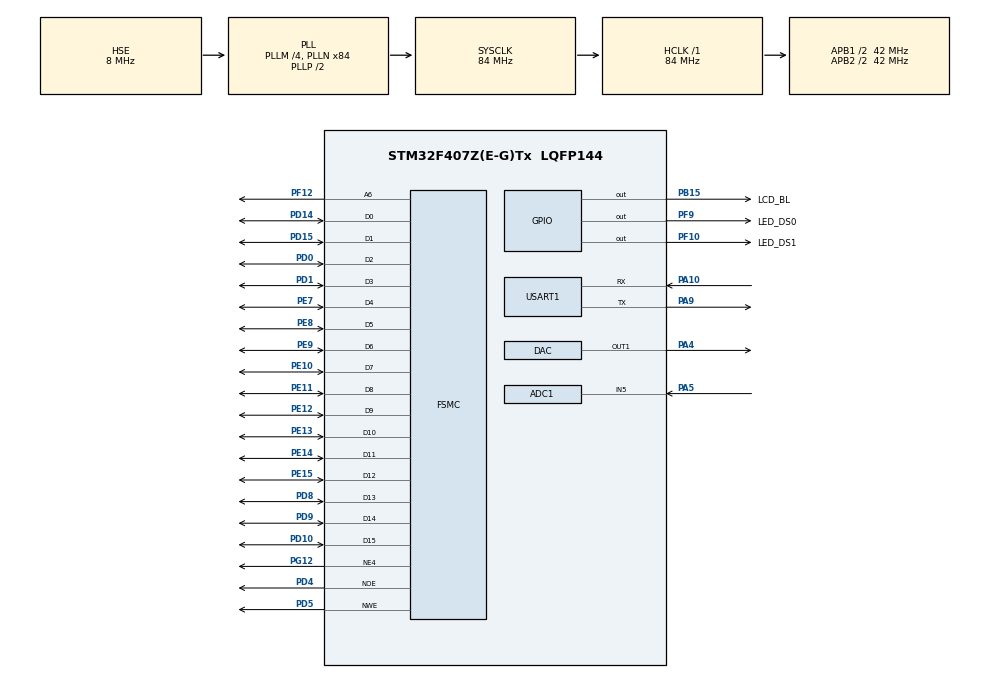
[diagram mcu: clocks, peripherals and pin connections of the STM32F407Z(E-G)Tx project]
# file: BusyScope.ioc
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ADC1.Channel-0\#ChannelRegularConversion=ADC_CHANNEL_5
ADC1.ExternalTrigConv=ADC_EXTERNALTRIGCONV_T2_TRGO
ADC1.NbrOfConversion=1
ADC1.NbrOfConversionFlag=1
ADC1.Rank-0\#ChannelRegularConversion=1
ADC1.SamplingTime-0\#ChannelRegularConversion=ADC_SAMPLETIME_56CYCLES
ADC1.master=1
FREERTOS.Tasks01=defaultTask,24,512,StartDefaultTask,Default,NULL,Dynamic,NULL,NULL
FSMC.ExtendedMode4=FSMC_EXTENDED_MODE_ENABLE
Mcu.Family=STM32F4
Mcu.Name=STM32F407Z(E-G)Tx
Mcu.Package=LQFP144
NVIC.ADC_IRQn=true\:5\:0\:false\:false\:true\:true\:true\:true\:true
NVIC.PriorityGroup=NVIC_PRIORITYGROUP_4
NVIC.TIM1_BRK_TIM9_IRQn=true\:5\:0\:false\:false\:true\:true\:true\:true\:true
NVIC.TIM1_CC_IRQn=true\:5\:0\:false\:false\:true\:true\:true\:true\:true
NVIC.TIM1_TRG_COM_TIM11_IRQn=true\:5\:0\:false\:false\:true\:true\:true\:true\:true
NVIC.TIM1_UP_TIM10_IRQn=true\:5\:0\:false\:false\:true\:true\:true\:true\:true
NVIC.TIM6_DAC_IRQn=true\:5\:0\:false\:false\:true\:true\:false\:true\:true
NVIC.TimeBase=TIM6_DAC_IRQn
NVIC.TimeBaseIP=TIM6
PA10.Mode=Asynchronous
PA10.Signal=USART1_RX
PA13.Mode=Serial_Wire
PA13.Signal=SYS_JTMS-SWDIO
PA14.Mode=Serial_Wire
PA14.Signal=SYS_JTCK-SWCLK
PA4.Signal=COMP_DAC1_group
PA5.Signal=ADCx_IN5
PA9.Mode=Asynchronous
PA9.Signal=USART1_TX
PB15.GPIO_Label=LCD_BL
PB15.PinState=GPIO_PIN_SET
PB15.Signal=GPIO_Output
PD0.Signal=FSMC_D2_DA2
PD1.Signal=FSMC_D3_DA3
PD10.Signal=FSMC_D15_DA15
PD14.Signal=FSMC_D0_DA0
PD15.Signal=FSMC_D1_DA1
PD4.Signal=FSMC_NOE
PD5.Signal=FSMC_NWE
PD8.Signal=FSMC_D13_DA13
PD9.Signal=FSMC_D14_DA14
PE10.Signal=FSMC_D7_DA7
PE11.Signal=FSMC_D8_DA8
PE12.Signal=FSMC_D9_DA9
PE13.Signal=FSMC_D10_DA10
PE14.Signal=FSMC_D11_DA11
PE15.Signal=FSMC_D12_DA12
PE7.Signal=FSMC_D4_DA4
PE8.Signal=FSMC_D5_DA5
PE9.Signal=FSMC_D6_DA6
PF10.GPIO_Label=LED_DS1
PF10.PinState=GPIO_PIN_SET
PF10.Signal=GPIO_Output
PF12.Signal=FSMC_A6
PF9.GPIO_Label=LED_DS0
PF9.GPIO_ModeDefaultOutputPP=GPIO_MODE_OUTPUT_PP
PF9.GPIO_PuPd=GPIO_NOPULL
PF9.PinState=GPIO_PIN_SET
PF9.Signal=GPIO_Output
PG12.Mode=NorPsramChipSelect4_4
PG12.Signal=FSMC_NE4
PH0-OSC_IN.Mode=HSE-External-Oscillator
PH0-OSC_IN.Signal=RCC_OSC_IN
PH1-OSC_OUT.Mode=HSE-External-Oscillator
PH1-OSC_OUT.Signal=RCC_OSC_OUT
ProjectManager.HeapSize=0x200
ProjectManager.StackSize=0x400
ProjectManager.TargetToolchain=STM32CubeIDE
RCC.48MHZClocksFreq_Value=42000000
RCC.AHBFreq_Value=84000000
RCC.APB1CLKDivider=RCC_HCLK_DIV2
RCC.APB1Freq_Value=42000000
RCC.APB1TimFreq_Value=84000000
RCC.APB2CLKDivider=RCC_HCLK_DIV2
RCC.APB2Freq_Value=42000000
RCC.APB2TimFreq_Value=84000000
RCC.CortexFreq_Value=84000000
RCC.HCLKFreq_Value=84000000
RCC.HSE_VALUE=8000000
RCC.HSI_VALUE=16000000
RCC.LSE_VALUE=32768
RCC.PLLM=4
RCC.PLLN=84
RCC.PLLSourceVirtual=RCC_PLLSOURCE_HSE
RCC.SYSCLKFreq_VALUE=84000000
RCC.SYSCLKSource=RCC_SYSCLKSOURCE_PLLCLK
RCC.VCOOutputFreq_Value=168000000
SH.ADCx_IN5.0=ADC1_IN5,IN5
SH.COMP_DAC1_group.0=DAC_OUT1,DAC_OUT1
SH.FSMC_A6.0=FSMC_A6,A6_4
SH.FSMC_D0_DA0.0=FSMC_D0,16b-d4
SH.FSMC_D10_DA10.0=FSMC_D10,16b-d4
SH.FSMC_D11_DA11.0=FSMC_D11,16b-d4
SH.FSMC_D12_DA12.0=FSMC_D12,16b-d4
SH.FSMC_D13_DA13.0=FSMC_D13,16b-d4
SH.FSMC_D14_DA14.0=FSMC_D14,16b-d4
SH.FSMC_D15_DA15.0=FSMC_D15,16b-d4
SH.FSMC_D1_DA1.0=FSMC_D1,16b-d4
SH.FSMC_D2_DA2.0=FSMC_D2,16b-d4
SH.FSMC_D3_DA3.0=FSMC_D3,16b-d4
SH.FSMC_D4_DA4.0=FSMC_D4,16b-d4
SH.FSMC_D5_DA5.0=FSMC_D5,16b-d4
SH.FSMC_D6_DA6.0=FSMC_D6,16b-d4
SH.FSMC_D7_DA7.0=FSMC_D7,16b-d4
SH.FSMC_D8_DA8.0=FSMC_D8,16b-d4
SH.FSMC_D9_DA9.0=FSMC_D9,16b-d4
SH.FSMC_NOE.0=FSMC_NOE,Lcd4
SH.FSMC_NWE.0=FSMC_NWE,Lcd4
STMicroelectronics.X-CUBE-ALGOBUILD.1.3.0.LibraryCcDSPOoLibraryJjDSPOoLibrary=true
TIM1.Period=1000 - 1
TIM1.Prescaler=84 - 1
TIM2.AutoReloadPreload=TIM_AUTORELOAD_PRELOAD_DISABLE
TIM2.Period=1000 - 1
TIM2.Prescaler=84 - 1
TIM2.TIM_MasterOutputTrigger=TIM_TRGO_UPDATE
TIM2.TIM_MasterSlaveMode=TIM_MASTERSLAVEMODE_DISABLE
USART1.VirtualMode=VM_ASYNC
VP_FREERTOS_VS_CMSIS_V2.Mode=CMSIS_V2
VP_STMicroelectronics.X-CUBE-ALGOBUILD_VS_DSPOoLibraryJjLibrary_1.3.0_1.3.0.Mode=DSPOoLibraryJjLibrary
VP_SYS_VS_tim6.Mode=TIM6
VP_TIM1_VS_ClockSourceINT.Mode=Internal
VP_TIM2_VS_ClockSourceINT.Mode=Internal
board=custom

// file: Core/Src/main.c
/* USER CODE BEGIN Header */
/**
  ******************************************************************************
  * @file           : main.c
  * @brief          : Main program body
  ******************************************************************************
  * @attention
  *
  * Copyright (c) 2024 STMicroelectronics.
  * All rights reserved.
  *
  * This software is licensed under terms that can be found in the LICENSE file
  * in the root directory of this software component.
  * If no LICENSE file comes with this software, it is provided AS-IS.
  *
  ******************************************************************************
  */
/* USER CODE END Header */
#include "main.h"
#include "cmsis_os.h"
#include "adc.h"
#include "dac.h"
#include "tim.h"
#include "usart.h"
#include "gpio.h"
#include "fsmc.h"

/* USER CODE BEGIN Includes */

#include "string.h"
#include "stdio.h"

#include "atk_md0350/atk_md0350.h"

/* USER CODE END Includes */

void SystemClock_Config(void);
void MX_FREERTOS_Init(void);

int main(void)
{

  /* MCU Configuration--------------------------------------------------------*/

  /* Reset of all peripherals, Initializes the Flash interface and the Systick. */
  HAL_Init();

  /* Configure the system clock */
  SystemClock_Config();

  /* Initialize all configured peripherals */
  MX_GPIO_Init();
  MX_FSMC_Init();
  MX_USART1_UART_Init();
  MX_DAC_Init();
  MX_ADC1_Init();
  MX_TIM1_Init();
  MX_TIM2_Init();
  /* USER CODE BEGIN 2 */

  HAL_Delay(100);

  /* USER CODE END 2 */

  /* Init scheduler */
  osKernelInitialize();  /* Call init function for freertos objects (in freertos.c) */
  MX_FREERTOS_Init();

  /* Start scheduler */
  osKernelStart();

  /* We should never get here as control is now taken by the scheduler */
  /* Infinite loop */
  while (1)
  {

  }
}

void SystemClock_Config(void)
{
  RCC_OscInitTypeDef RCC_OscInitStruct = {0};
  RCC_ClkInitTypeDef RCC_ClkInitStruct = {0};

  /** Configure the main internal regulator output voltage
  */
  __HAL_RCC_PWR_CLK_ENABLE();
  __HAL_PWR_VOLTAGESCALING_CONFIG(PWR_REGULATOR_VOLTAGE_SCALE1);

  /** Initializes the RCC Oscillators according to the specified parameters
  * in the RCC_OscInitTypeDef structure.
  */
  RCC_OscInitStruct.OscillatorType = RCC_OSCILLATORTYPE_HSE;
  RCC_OscInitStruct.HSEState = RCC_HSE_ON;
  RCC_OscInitStruct.PLL.PLLState = RCC_PLL_ON;
  RCC_OscInitStruct.PLL.PLLSource = RCC_PLLSOURCE_HSE;
  RCC_OscInitStruct.PLL.PLLM = 4;
  RCC_OscInitStruct.PLL.PLLN = 84;
  RCC_OscInitStruct.PLL.PLLP = RCC_PLLP_DIV2;
  RCC_OscInitStruct.PLL.PLLQ = 4;
  if (HAL_RCC_OscConfig(&RCC_OscInitStruct) != HAL_OK)
  {
    Error_Handler();
  }

  /** Initializes the CPU, AHB and APB buses clocks
  */
  RCC_ClkInitStruct.ClockType = RCC_CLOCKTYPE_HCLK|RCC_CLOCKTYPE_SYSCLK
                              |RCC_CLOCKTYPE_PCLK1|RCC_CLOCKTYPE_PCLK2;
  RCC_ClkInitStruct.SYSCLKSource = RCC_SYSCLKSOURCE_PLLCLK;
  RCC_ClkInitStruct.AHBCLKDivider = RCC_SYSCLK_DIV1;
  RCC_ClkInitStruct.APB1CLKDivider = RCC_HCLK_DIV2;
  RCC_ClkInitStruct.APB2CLKDivider = RCC_HCLK_DIV2;

  if (HAL_RCC_ClockConfig(&RCC_ClkInitStruct, FLASH_LATENCY_2) != HAL_OK)
  {
    Error_Handler();
  }
}

void HAL_TIM_PeriodElapsedCallback(TIM_HandleTypeDef *htim)
{
  if (htim->Instance == TIM6) {
    HAL_IncTick();
  }
  /* USER CODE BEGIN Callback 1 */

  if (htim->Instance == TIM1) {
      tim1_tick();
  }

  /* USER CODE END Callback 1 */
}

void Error_Handler(void)
{
  __disable_irq();
  while (1)
  {
  }
}

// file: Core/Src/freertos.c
/* USER CODE BEGIN Header */
/**
  ******************************************************************************
  * File Name          : freertos.c
  * Description        : Code for freertos applications
  ******************************************************************************
  * @attention
  *
  * Copyright (c) 2024 STMicroelectronics.
  * All rights reserved.
  *
  * This software is licensed under terms that can be found in the LICENSE file
  * in the root directory of this software component.
  * If no LICENSE file comes with this software, it is provided AS-IS.
  *
  ******************************************************************************
  */
/* USER CODE END Header */

#include "FreeRTOS.h"
#include "task.h"
#include "main.h"
#include "cmsis_os.h"

/* USER CODE BEGIN Includes */

#include "tim.h"
#include "adc.h"
#include "dac.h"
#include "fsmc.h"
#include "usart.h"
#include "stdio.h"
#include "string.h"

#include "wave_generator.h"
#include "wave_analysis.h"

#include "led/led.h"
#include "atk_md0350/atk_md0350.h"

/* USER CODE END Includes */

/* Definitions for defaultTask */
osThreadId_t defaultTaskHandle;
const osThreadAttr_t defaultTask_attributes = {
  .name = "defaultTask",
  .stack_size = 512 * 4,
  .priority = (osPriority_t) osPriorityNormal,
};

void StartDefaultTask(void *argument);

void MX_FREERTOS_Init(void); /* (MISRA C 2004 rule 8.1) */

void MX_FREERTOS_Init(void) {

  /* Create the thread(s) */
  /* creation of defaultTask */
  defaultTaskHandle = osThreadNew(StartDefaultTask, NULL, &defaultTask_attributes);

}

void StartDefaultTask(void *argument)
{
  /* USER CODE BEGIN StartDefaultTask */

    atk_md0350_init();

    atk_md0350_show_string(10, 320, 320, 12, "author:BusyBox", ATK_MD0350_LCD_FONT_12, ATK_MD0350_BLUE);
    atk_md0350_show_string(10, 340, 320, 12, "email:busybox177634@gmail.com", ATK_MD0350_LCD_FONT_12, ATK_MD0350_BLUE);

//    wave_generator_sin(50);
//    wave_generator_square(100, 80);
    wave_analysis_start();

    led_ds0_on();
  /* Infinite loop */
  for(;;)
  {
      led_ds0_toggle();
//      led_ds1_toggle();

        show_wave();
        show_fft();

      osDelay(1);
  }
  /* USER CODE END StartDefaultTask */
}
